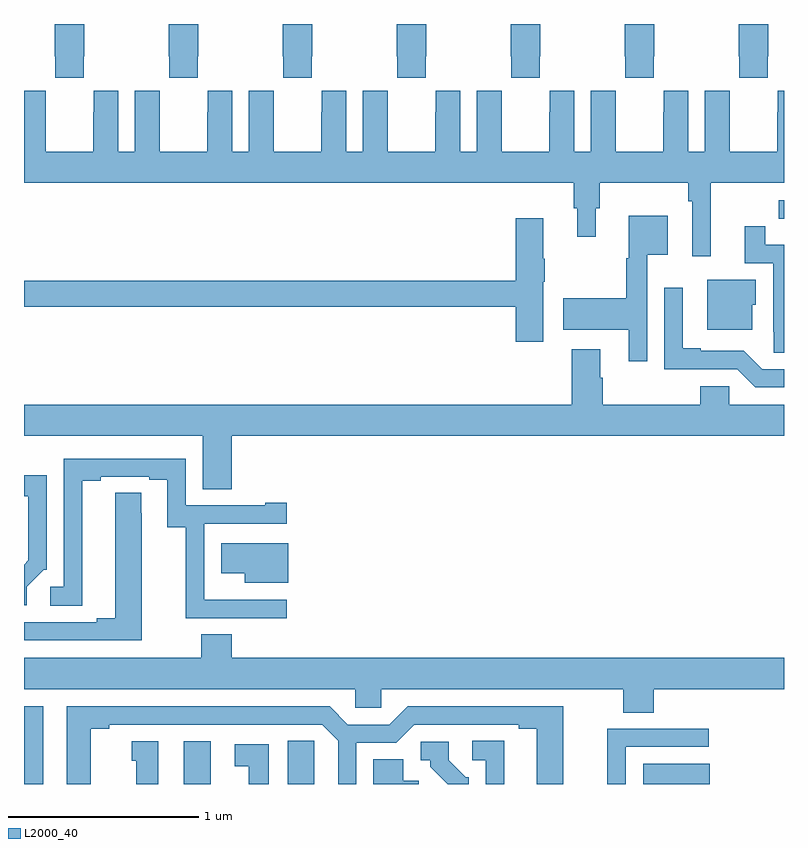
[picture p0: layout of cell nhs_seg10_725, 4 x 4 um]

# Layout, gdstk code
import gdstk
lib = gdstk.Library(unit=1e-6, precision=1e-09)
def R(c, l, rs):  # rectangles x0, y0, x1, y1
    for r in rs: c.add(gdstk.rectangle(r[:2], r[2:], *l))
def P(c, l, *ps):  # polygons
    for p in ps: c.add(gdstk.Polygon(p, *l))
L2000_40 = (2000, 40)

nhs_seg10_725 = lib.new_cell('nhs_seg10_725')
R(nhs_seg10_725, L2000_40, [(147,1282.5,147.1,1282.908), (147.842,1282.5,147.982,1282.726), (150.258,1282.5,150.61,1282.606), (150.972,1285.476,151,1285.572)])
P(nhs_seg10_725, L2000_40, [(150.915,1286.329),(150.918,1286.329),(150.918,1286.5),(150.763,1286.5),(150.763,1286.329),(150.765,1286.329),(150.765,1286.217),(150.915,1286.217)],
  [(150.315,1286.329),(150.318,1286.329),(150.318,1286.5),(150.163,1286.5),(150.163,1286.329),(150.165,1286.329),(150.165,1286.217),(150.315,1286.217)],
  [(149.715,1286.329),(149.718,1286.329),(149.718,1286.5),(149.563,1286.5),(149.563,1286.329),(149.565,1286.329),(149.565,1286.217),(149.715,1286.217)],
  [(149.115,1286.329),(149.118,1286.329),(149.118,1286.5),(148.963,1286.5),(148.963,1286.329),(148.965,1286.329),(148.965,1286.217),(149.115,1286.217)],
  [(148.515,1286.329),(148.518,1286.329),(148.518,1286.5),(148.363,1286.5),(148.363,1286.329),(148.365,1286.329),(148.365,1286.217),(148.515,1286.217)],
  [(147.915,1286.329),(147.918,1286.329),(147.918,1286.5),(147.763,1286.5),(147.763,1286.329),(147.765,1286.329),(147.765,1286.217),(147.915,1286.217)],
  [(147.315,1286.329),(147.318,1286.329),(147.318,1286.5),(147.163,1286.5),(147.163,1286.329),(147.165,1286.329),(147.165,1286.217),(147.315,1286.217)],
  [(149.893,1285.53),(149.912,1285.53),(149.912,1285.38),(150.01,1285.38),(150.01,1285.53),(150.029,1285.53),(150.029,1285.664),(150.496,1285.664),(150.496,1285.568),(150.516,1285.568),(150.516,1285.278),(150.614,1285.278),(150.614,1285.664),(151,1285.664),(151,1286.149),(150.966,1286.149),(150.966,1286.036),(150.965,1286.036),(150.965,1285.828),(150.715,1285.828),(150.715,1286.036),(150.714,1286.036),(150.714,1286.149),(150.584,1286.149),(150.584,1285.828),(150.496,1285.828),(150.496,1286.149),(150.366,1286.149),(150.366,1286.036),(150.365,1286.036),(150.365,1285.828),(150.115,1285.828),(150.115,1286.036),(150.114,1286.036),(150.114,1286.149),(149.984,1286.149),(149.984,1285.828),(149.896,1285.828),(149.896,1286.149),(149.766,1286.149),(149.766,1286.036),(149.765,1286.036),(149.765,1285.828),(149.515,1285.828),(149.515,1286.036),(149.514,1286.036),(149.514,1286.149),(149.384,1286.149),(149.384,1285.828),(149.296,1285.828),(149.296,1286.149),(149.166,1286.149),(149.166,1286.036),(149.165,1286.036),(149.165,1285.828),(148.915,1285.828),(148.915,1286.036),(148.914,1286.036),(148.914,1286.149),(148.784,1286.149),(148.784,1285.828),(148.696,1285.828),(148.696,1286.149),(148.566,1286.149),(148.566,1286.036),(148.565,1286.036),(148.565,1285.828),(148.315,1285.828),(148.315,1286.036),(148.314,1286.036),(148.314,1286.149),(148.184,1286.149),(148.184,1285.828),(148.096,1285.828),(148.096,1286.149),(147.966,1286.149),(147.966,1286.036),(147.965,1286.036),(147.965,1285.828),(147.715,1285.828),(147.715,1286.036),(147.714,1286.036),(147.714,1286.149),(147.584,1286.149),(147.584,1285.828),(147.496,1285.828),(147.496,1286.149),(147.366,1286.149),(147.366,1286.036),(147.365,1286.036),(147.365,1285.828),(147.115,1285.828),(147.115,1286.036),(147.114,1286.036),(147.114,1286.149),(147,1286.149),(147,1285.664),(149.893,1285.664)],
  [(150.279,1285.286),(150.388,1285.286),(150.388,1285.492),(150.182,1285.492),(150.182,1285.266),(150.171,1285.266),(150.171,1285.056),(149.838,1285.056),(149.838,1284.89),(150.182,1284.89),(150.182,1284.726),(150.279,1284.726)],
  [(149.734,1285.144),(149.742,1285.144),(149.742,1285.264),(149.734,1285.264),(149.734,1285.477),(149.588,1285.477),(149.588,1285.148),(147,1285.148),(147,1285.012),(149.588,1285.012),(149.588,1284.828),(149.734,1284.828)],
  [(151,1285.338),(150.902,1285.338),(150.902,1285.435),(150.794,1285.435),(150.794,1285.242),(150.944,1285.242),(150.944,1284.88),(150.945,1284.88),(150.945,1284.769),(151,1284.769)],
  [(150.832,1285.023),(150.85,1285.023),(150.85,1285.153),(150.596,1285.153),(150.596,1284.89),(150.832,1284.89)],
  [(151,1284.684),(150.885,1284.684),(150.789,1284.78),(150.562,1284.78),(150.562,1284.793),(150.466,1284.793),(150.466,1285.111),(150.369,1285.111),(150.369,1284.684),(150.753,1284.684),(150.849,1284.588),(151,1284.588)],
  [(148.094,1284.332),(151,1284.332),(151,1284.496),(150.711,1284.496),(150.711,1284.594),(150.56,1284.594),(150.56,1284.496),(150.047,1284.496),(150.047,1284.638),(150.034,1284.638),(150.034,1284.787),(149.882,1284.787),(149.882,1284.496),(147,1284.496),(147,1284.332),(147.941,1284.332),(147.941,1284.052),(148.094,1284.052)],
  [(148.384,1283.469),(147.95,1283.469),(147.95,1283.47),(147.948,1283.47),(147.948,1283.871),(148.384,1283.871),(148.384,1283.98),(148.271,1283.98),(148.271,1283.967),(147.852,1283.967),(147.852,1284.213),(147.21,1284.213),(147.21,1283.538),(147.138,1283.538),(147.138,1283.437),(147.307,1283.437),(147.307,1284.097),(147.403,1284.097),(147.403,1284.117),(147.659,1284.117),(147.659,1284.102),(147.755,1284.102),(147.755,1283.851),(147.85,1283.851),(147.85,1283.373),(148.384,1283.373)],
  [(147.015,1283.538),(147.105,1283.628),(147.12,1283.628),(147.12,1284.125),(147,1284.125),(147,1284.015),(147.023,1284.015),(147.023,1283.678),(147,1283.655),(147,1283.442),(147.015,1283.442)],
  [(147.619,1283.924),(147.618,1283.924),(147.618,1284.032),(147.479,1284.032),(147.479,1283.372),(147.383,1283.372),(147.383,1283.352),(147,1283.352),(147,1283.256),(147.619,1283.256)],
  [(148.39,1283.767),(148.038,1283.767),(148.038,1283.609),(148.163,1283.609),(148.163,1283.558),(148.39,1283.558)],
  [(150.314,1283),(151,1283),(151,1283.164),(148.094,1283.164),(148.094,1283.288),(147.934,1283.288),(147.934,1283.164),(147,1283.164),(147,1283),(148.743,1283),(148.743,1282.902),(148.881,1282.902),(148.881,1283),(150.154,1283),(150.154,1282.876),(150.314,1282.876)],
  [(147.352,1282.792),(147.448,1282.792),(147.448,1282.812),(148.569,1282.812),(148.653,1282.728),(148.653,1282.5),(148.749,1282.5),(148.749,1282.716),(148.959,1282.716),(149.055,1282.812),(149.603,1282.812),(149.603,1282.792),(149.699,1282.792),(149.699,1282.5),(149.839,1282.5),(149.839,1282.908),(149.019,1282.908),(148.923,1282.812),(148.705,1282.812),(148.609,1282.908),(147.224,1282.908),(147.224,1282.5),(147.352,1282.5)],
  [(150.168,1282.695),(150.604,1282.695),(150.604,1282.791),(150.07,1282.791),(150.07,1282.5),(150.168,1282.5)],
  [(149.527,1282.727),(149.358,1282.727),(149.358,1282.626),(149.43,1282.626),(149.43,1282.5),(149.527,1282.5)],
  [(148.528,1282.619),(148.527,1282.619),(148.527,1282.727),(148.388,1282.727),(148.388,1282.5),(148.528,1282.5)],
  [(147.706,1282.726),(147.566,1282.726),(147.566,1282.623),(147.59,1282.623),(147.59,1282.5),(147.706,1282.5)],
  [(149.34,1282.536),(149.325,1282.536),(149.235,1282.626),(149.235,1282.722),(149.088,1282.722),(149.088,1282.626),(149.138,1282.626),(149.138,1282.591),(149.229,1282.5),(149.34,1282.5)],
  [(148.288,1282.71),(148.11,1282.71),(148.11,1282.594),(148.184,1282.594),(148.184,1282.5),(148.288,1282.5)],
  [(149.077,1282.516),(148.996,1282.516),(148.996,1282.631),(148.838,1282.631),(148.838,1282.5),(149.077,1282.5)])

lib.write_gds('nhs_seg10_725.gds')
